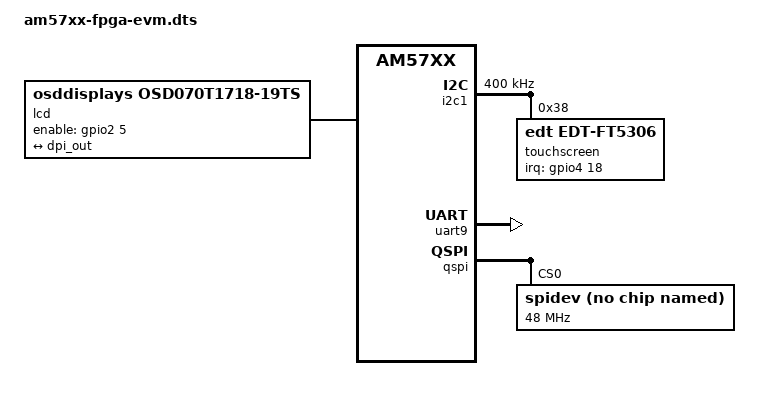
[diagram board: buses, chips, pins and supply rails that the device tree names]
/*
 * Copyright (C) 2015-2017 Texas Instruments Incorporated - http://www.ti.com/
 *
 * This program is free software; you can redistribute it and/or modify
 * it under the terms of the GNU General Public License version 2 as
 * published by the Free Software Foundation.
 */

#include "am57xx-evm-reva3.dts"

/ {
	lcd0: display {
		compatible = "osddisplays,osd070t1718-19ts", "panel-dpi";

		label = "lcd";

		enable-gpios = <&gpio2 5 GPIO_ACTIVE_HIGH>;

		panel-timing {
			clock-frequency = <33000000>;
			hactive = <800>;
			vactive = <480>;
			hfront-porch = <210>;
			hback-porch = <16>;
			hsync-len = <30>;
			vback-porch = <10>;
			vfront-porch = <22>;
			vsync-len = <13>;
			hsync-active = <0>;
			vsync-active = <0>;
			de-active = <1>;
			pixelclk-active = <1>;
		};

		port {
			lcd_in: endpoint {
				remote-endpoint = <&dpi_out>;
			};
		};
	};
};

&dra7_pmx_core {
	uart9_pins_default: uart9_pins_default {
		pinctrl-single,pins = <
			0x160 (PIN_INPUT_PULLUP | MUX_MODE7) /* vin2a_hsync0.uart9_rxd (G1) */
			0x164 (PIN_INPUT_PULLUP | MUX_MODE7) /* vin2a_vsync0.uart9_txd (G6) */
		>;
	};

	edt_ft5x06_pins: edt_ft5x06_pins {
		pinctrl-single,pins = <
			0x2e4 (PIN_INPUT_PULLUP | MUX_MODE14) /* mcasp1_axr12.gpio4_18 (E14) */
		>;
	};
};

&i2c1 {
	status = "okay";
	clock-frequency = <400000>;

	touchscreen: edt-ft5306@38 {
		status = "okay";
		compatible = "edt,edt-ft5306", "edt,edt-ft5x06";
		pinctrl-names = "default";
		pinctrl-0 = <&edt_ft5x06_pins>;

		reg = <0x38>;

		interrupt-parent = <&gpio4>;
		interrupts = <18 0>;

		touchscreen-size-x = <800>;
		touchscreen-size-y = <480>;
	};
};

&uart9 {
	status = "okay";
	pinctrl-names = "default";
	pinctrl-0 = <&uart9_pins_default>;
};

&qspi {
	status = "okay";

	m25p80@0 {
		status = "disabled";
	};

	spidev@0 {
		compatible = "rohm,dh2228fv", "lineartechnology,ltc2488", "spidev";
		reg = <0>;
		spi-max-frequency = <48000000>;
	};
};
